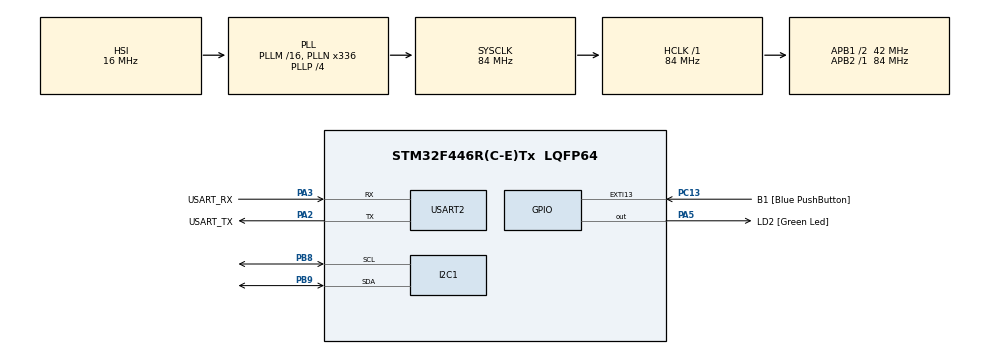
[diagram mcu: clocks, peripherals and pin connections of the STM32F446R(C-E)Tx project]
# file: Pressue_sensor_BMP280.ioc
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Mcu.Family=STM32F4
Mcu.Name=STM32F446R(C-E)Tx
Mcu.Package=LQFP64
NVIC.PriorityGroup=NVIC_PRIORITYGROUP_0
PA13.GPIO_Label=TMS
PA13.Mode=Serial_Wire
PA13.Signal=SYS_JTMS-SWDIO
PA14.GPIO_Label=TCK
PA14.Mode=Serial_Wire
PA14.Signal=SYS_JTCK-SWCLK
PA2.GPIO_Label=USART_TX
PA2.Mode=Asynchronous
PA2.Signal=USART2_TX
PA3.GPIO_Label=USART_RX
PA3.Mode=Asynchronous
PA3.Signal=USART2_RX
PA5.GPIO_Label=LD2 [Green Led]
PA5.Signal=GPIO_Output
PB3.GPIO_Label=SWO
PB3.Signal=SYS_JTDO-SWO
PB8.Mode=I2C
PB8.Signal=I2C1_SCL
PB9.Mode=I2C
PB9.Signal=I2C1_SDA
PC13.GPIO_Label=B1 [Blue PushButton]
PC13.GPIO_ModeDefaultEXTI=GPIO_MODE_IT_FALLING
PC13.Signal=GPXTI13
PC14-OSC32_IN.Mode=LSE-External-Oscillator
PC14-OSC32_IN.Signal=RCC_OSC32_IN
PC15-OSC32_OUT.Mode=LSE-External-Oscillator
PC15-OSC32_OUT.Signal=RCC_OSC32_OUT
PH0-OSC_IN.Mode=HSE-External-Oscillator
PH0-OSC_IN.Signal=RCC_OSC_IN
PH1-OSC_OUT.Mode=HSE-External-Oscillator
PH1-OSC_OUT.Signal=RCC_OSC_OUT
ProjectManager.HeapSize=0x200
ProjectManager.StackSize=0x400
ProjectManager.TargetToolchain=STM32CubeIDE
RCC.48MHZClocksFreq_Value=84000000
RCC.AHBFreq_Value=84000000
RCC.APB1CLKDivider=RCC_HCLK_DIV2
RCC.APB1Freq_Value=42000000
RCC.APB1TimFreq_Value=84000000
RCC.APB2Freq_Value=84000000
RCC.APB2TimFreq_Value=84000000
RCC.CortexFreq_Value=84000000
RCC.FLatency-AdvancedSettings=FLASH_LATENCY_2
RCC.HCLKFreq_Value=84000000
RCC.HSE_VALUE=8000000
RCC.HSI_VALUE=16000000
RCC.PLLN=336
RCC.PLLP=RCC_PLLP_DIV4
RCC.SYSCLKFreq_VALUE=84000000
RCC.SYSCLKSource=RCC_SYSCLKSOURCE_PLLCLK
RCC.USBFreq_Value=168000000
RCC.VCOOutputFreq_Value=336000000
USART2.VirtualMode=VM_ASYNC
board=NUCLEO-F446RE

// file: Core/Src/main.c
/* USER CODE BEGIN Header */
/**
  ******************************************************************************
  * @file           : main.c
  * @brief          : Main program body
  ******************************************************************************
  * @attention
  *
  * Copyright (c) 2023 STMicroelectronics.
  * All rights reserved.
  *
  * This software is licensed under terms that can be found in the LICENSE file
  * in the root directory of this software component.
  * If no LICENSE file comes with this software, it is provided AS-IS.
  *
  ******************************************************************************
  */
/* USER CODE END Header */
#include "main.h"
#include<stdio.h>
#include<string.h>

I2C_HandleTypeDef hi2c1;

UART_HandleTypeDef huart2;

/* USER CODE BEGIN PV */
uint16_t id_16[1],ctrl_meas_16[10];
uint8_t add=0x76<<1,id[8],reset[1],value[3],status[8],ctrl_meas[10],ctrl[1],config[1];
uint8_t press_lsb[7],press_msb[1],press_xlsb[3],press[2],calib[1];
uint8_t temp_lsb[7],temp_xlsb[7],temp_msb[7] = {0};
int32_t avg_temp[100],pressure[100];
float avg_temp_final=0,avg_press_final=0;
unsigned int temp_raw,press_raw;
int32_t t_fine;
double temp_final,final_press;
uint8_t calibdata[5],calibdata_press[20];
unsigned short dig_T1,dig_P1;
signed short dig_T2,dig_T3,dig_P2,dig_P3,dig_P4,dig_P5,dig_P6,dig_P7,dig_P8,dig_P9;
unsigned int i=0;
HAL_StatusTypeDef ret;
char r[100];
int _write(int file, char *ptr, int len){
	HAL_UART_Transmit(&huart2, (uint8_t*) ptr, len, HAL_MAX_DELAY);
	return len;
}
double bmp280_compensate_T_double( uint32_t adc_T)
{
double var1, var2, T;
var1 = (((double)adc_T)/16384.0 -((double)dig_T1)/1024.0) * ((double)dig_T2);
var2 = ((((double)adc_T)/131072.0 -((double)dig_T1)/8192.0) *(((double)adc_T)/131072.0 -((double) dig_T1)/8192.0)) * ((double)dig_T3);
t_fine = (int32_t)(var1 + var2);
T = (var1 + var2) / 5120.0;
return T;
}
double bmp280_compensate_P_double(uint32_t adc_P) {
double var1, var2, p;
var1 = ((double)t_fine/2.0)-64000.0;
var2 = var1 * var1 * ((double)dig_P6) / 32768.0;
var2 = var2 + var1 * ((double)dig_P5) * 2.0;
var2 = (var2/4.0)+(((double)dig_P4) * 65536.0);
var1 = (((double)dig_P3) * var1 * var1 / 524288.0 + ((double)dig_P2) * var1) / 524288.0;
var1 = (1.0 + var1 / 32768.0)*((double)dig_P1);
if (var1 == 0.0)
{
return 0; // avoid exception caused by division by zero
}
p = 1048576.0 -(double)adc_P;
p = (p -(var2 / 4096.0)) * 6250.0 / var1;
var1 = ((double)dig_P9) * p * p / 2147483648.0;
var2 = p * ((double)dig_P8) / 32768.0;
p = p + (var1 + var2 + ((double)dig_P7)) / 16.0;
return p;
}

void compute_temperature(unsigned int Raw_Temperature )
{
	signed long  var1=0,var2=0;
	signed int T=0;
	signed long t_fine=0;

	var1 = (((Raw_Temperature>>3) -((signed int )dig_T1<<1))) ;
	var1 = ((var1 *((signed int)dig_T2)) >> 11) ;

    var2 = ((Raw_Temperature/16) -((signed int)dig_T1));
	var2 =  (( (var2 * var2) /4096 ) * (((signed int)dig_T3) ) / 16384) ;
//    printf("v1 %d v2 %d | ",var1, var2 );

    t_fine = var1 +var2;
    T = ((t_fine * 5) + 128) / 256;
    avg_temp[i]=T;
    avg_temp_final+=avg_temp[i];
    i++;
    if(i==99){
    	avg_temp_final/=10000;
    	if(avg_temp_final==-40){
    		printf("Under Limit\n\r");
    	}
    	else if(avg_temp_final==85){
    		printf("Over Limit\n\r");
    	}
    	else{
    		printf("Final_Temp:%2.2f°c\n\r",avg_temp_final);
    	}
    	    i=0;
    }

}
void configuration(void){
	ret= HAL_I2C_Master_Transmit(&hi2c1, add , id, 1, HAL_MAX_DELAY);
			 if(ret != HAL_OK){
				 printf("Error %d\n\r",ret);
			 }
			 else{
				  ret=HAL_I2C_Master_Receive(&hi2c1, add , id , 1 , HAL_MAX_DELAY);
		//		  HAL_UART_Transmit(&huart2, id, 1, HAL_MAX_DELAY);
				  printf("Device Tested\n\r");
				  if (id[0]==0x58){
					  status[0]=0xF3; // to check status
					  HAL_I2C_Master_Transmit(&hi2c1, add , id, 1, HAL_MAX_DELAY);
					  HAL_I2C_Master_Receive(&hi2c1, add , status , 4 , HAL_MAX_DELAY);
			//		  HAL_UART_Transmit(&huart2, status, 4, HAL_MAX_DELAY);
				  }
				  if(status[0]==0&&status[3]==0){	//status data is processed and copied
					  ctrl_meas[0]=0xF4;
					  ctrl[0]=0x27;
					  HAL_I2C_Mem_Write(&hi2c1, add, ctrl_meas[0], I2C_MEMADD_SIZE_8BIT,(&ctrl[0]),1, HAL_MAX_DELAY);
			//		  HAL_I2C_Master_Transmit(&hi2c1, add , ctrl, 1, HAL_MAX_DELAY);
					  HAL_Delay(1000);
					  HAL_I2C_Master_Receive(&hi2c1, add , ctrl_meas, 1, HAL_MAX_DELAY);
					  printf("ctrl_meas Set\n\r");
			//		  HAL_UART_Transmit(&huart2, ctrl_meas, 1, HAL_MAX_DELAY);
				  }
				  if(ctrl_meas[0]==0x27){
					  config[0]=0xF5;
					  config[1]=0x00;
					  HAL_I2C_Mem_Write(&hi2c1, add, config[0], I2C_MEMADD_SIZE_8BIT,(&config[1]),1, HAL_MAX_DELAY);
					  HAL_Delay(1000);
					  HAL_I2C_Master_Receive(&hi2c1, add , config, 1, HAL_MAX_DELAY);
					  printf("Config Set\n\r");
			//		  HAL_UART_Transmit(&huart2, config, 1, HAL_MAX_DELAY);
				  }
			 }
			 }
void temp_calc (void){

			  if(config[0]==0x00){
				  calibdata[0]=0x88;
		//		  HAL_I2C_Master_Receive(&hi2c1, add , calibdata, 6, HAL_MAX_DELAY);
				  HAL_I2C_Mem_Read(&hi2c1,add,calibdata[0],I2C_MEMADD_SIZE_8BIT,(&calibdata[0]),6,HAL_MAX_DELAY);
		//		  HAL_UART_Transmit(&huart2, calib, 6, HAL_MAX_DELAY);
				  dig_T1=(calibdata[1]<<8)| calibdata[0];
				  dig_T2=(calibdata[3]<<8)| calibdata[2];
				  dig_T3=(calibdata[5]<<8)| calibdata[4];
		//		  dig_T1=27504;
		//		  dig_T2=26435;
		//		  dig_T3=-1000;
		//		  printf("dig_T1:%d dig_T2:%d dig_T3:%d\n\r",dig_T1,dig_T2,dig_T3);
//				  temp_lsb[0]=0xFB;
//				  temp_msb[0]=0xFA;
//				  temp_xlsb[0]=0xFC;

				  if(status[0]==0&&status[3]==0){
	//			  temp_lsb[0]=0x91;
	//			  temp_xlsb[0]=0x2<<4;
	//			  temp_msb[0]=0x73;
	//			  temp_raw=(temp_xlsb[0]>>4)|(temp_lsb[0]<<4)|(temp_msb[0]<<12);
		//		  temp_raw=519888;
		//		  compute_temperature(temp_raw);
		//		  temp_final=bmp280_compensate_T_double(temp_raw);
		//		  printf("Temp_final%lf\n\r",temp_final);
						  temp_lsb[0]=0xFB;
						  temp_msb[0]=0xFA;
						  temp_xlsb[0]=0xFC;
						  HAL_I2C_Mem_Read(&hi2c1,add,temp_msb[0],I2C_MEMADD_SIZE_8BIT,(&temp_msb[0]),3,HAL_MAX_DELAY);
						  temp_lsb[0]=temp_msb[1];
						  temp_xlsb[0]=temp_msb[2];
		//	 	 		  temp_lsb[0]=0x91;
		//	 	 		  temp_xlsb[0]=0x2<<4;
		//	 	 		  temp_msb[0]=0x73;
		//	 	 		  printf("lsb:%d xlsb:%d,msb:%d\n\r",temp_lsb[0],temp_xlsb[0],temp_msb[0]);
						  temp_raw=(temp_xlsb[0]>>4)|(temp_lsb[0]<<4)|(temp_msb[0]<<12);
		//		 		  temp_raw=519888;
						  compute_temperature(temp_raw);
		//	 		 	  temp_final=bmp280_compensate_T_double(temp_raw);
		//	 		      printf("Temp_final%lf\n\r",temp_final);
						  HAL_Delay(10);
				  }
			  }
}

void press_calc(void){
	static int i=0;
	if(config[0]==0x00){
	 calibdata_press[0]=0x8E;
	 				  HAL_I2C_Master_Receive(&hi2c1, add , calibdata, 18, HAL_MAX_DELAY);
//	 				  HAL_I2C_Mem_Read(&hi2c1,add,calibdata[0],I2C_MEMADD_SIZE_8BIT,(&calibdata[0]),18,HAL_MAX_DELAY);
	 		//		  HAL_UART_Transmit(&huart2, calib, 6, HAL_MAX_DELAY);
	 				  dig_P1=(calibdata_press[1]<<8)| calibdata_press[0];
	 				  dig_P2=(calibdata_press[3]<<8)| calibdata_press[2];
	 				  dig_P3=(calibdata_press[5]<<8)| calibdata_press[4];
	 				  dig_P4=(calibdata_press[7]<<8)| calibdata_press[6];
	 				  dig_P5=(calibdata_press[9]<<8)| calibdata_press[8];
	 				  dig_P6=(calibdata_press[11]<<8)| calibdata_press[10];
	 				  dig_P7=(calibdata_press[13]<<8)| calibdata_press[12];
	 				  dig_P8=(calibdata_press[15]<<8)| calibdata_press[14];
	 				  dig_P9=(calibdata_press[17]<<8)| calibdata_press[16];
//	 				  printf("P1:%d,P2:%d,P3:%d,P4:%d,P5:%d,P6:%d,p7:%d,P8:%d,P9:%d\n\r",dig_P1,dig_P2,dig_P3,dig_P4,dig_P5,dig_P6,dig_P7,dig_P8,dig_P9);

	 if(status[0]==0&&status[3]==0){
	 	//			  temp_lsb[0]=0x91;
	 	//			  temp_xlsb[0]=0x2<<4;
	 	//			  temp_msb[0]=0x73;
	 	//			  temp_raw=(temp_xlsb[0]>>4)|(temp_lsb[0]<<4)|(temp_msb[0]<<12);
	 		//		  temp_raw=519888;
	 		//		  compute_temperature(temp_raw);
	 		//		  temp_final=bmp280_compensate_T_double(temp_raw);
	 		//		  printf("Temp_final%lf\n\r",temp_final);
	 						  press_lsb[0]=0xF8;
	 						  press_msb[0]=0xF7;
	 						  press_xlsb[0]=0xF9;
	 						  HAL_I2C_Mem_Read(&hi2c1,add,press_msb[0],I2C_MEMADD_SIZE_8BIT,(&press_msb[0]),3,HAL_MAX_DELAY);
	 						  press_lsb[0]=press_msb[1];
	 						  press_xlsb[0]=press_msb[2];
	 		//	 	 		  temp_lsb[0]=0x91;
	 		//	 	 		  temp_xlsb[0]=0x2<<4;
	 		//	 	 		  temp_msb[0]=0x73;
	 		//	 	 		  printf("lsb:%d xlsb:%d,msb:%d\n\r",temp_lsb[0],temp_xlsb[0],temp_msb[0]);
	 						  press_raw=(press_xlsb[0]>>4)|(press_lsb[0]<<4)|(press_msb[0]<<12);
	 		//		 		  temp_raw=519888;
	 						 final_press=bmp280_compensate_P_double(press_raw)/1000;
	 						 pressure[i]=final_press;
 							 avg_press_final+=pressure[i];
 							 i++;
	 						 if(i == 99){
	 							 avg_press_final=avg_press_final/100;
	 							 avg_press_final-=150;
	 	 						printf("Press_final:%lfpa\n\r",avg_press_final);
	 	 						  HAL_Delay(10);
	 	 						  i=0;
	 						 }
	 		//	 		 	  temp_final=bmp280_compensate_T_double(temp_raw);
	 		//	 		      printf("Temp_final%lf\n\r",temp_final);

	 				  }
	}
}

/* USER CODE END PV */

void SystemClock_Config(void);
static void MX_GPIO_Init(void);
static void MX_USART2_UART_Init(void);
static void MX_I2C1_Init(void);

int main(void)
{
  /* USER CODE BEGIN 1 */
//	HAL_StatusTypeDef buf,bufr;
  /* USER CODE END 1 */

  /* MCU Configuration--------------------------------------------------------*/

  /* Reset of all peripherals, Initializes the Flash interface and the Systick. */
  HAL_Init();

  /* Configure the system clock */
  SystemClock_Config();

  /* Initialize all configured peripherals */
  MX_GPIO_Init();
  MX_USART2_UART_Init();
  MX_I2C1_Init();
  /* USER CODE BEGIN 2 */
//  sprintf(buf,"");
  /* USER CODE END 2 */
 id[0]= 0xD0;
 id_16[0]= 0xD0;
 configuration();
// reset[0]=0xE0;
  /* Infinite loop */
  while (1)
  {
	  temp_calc();
	  press_calc();

  }
}

void SystemClock_Config(void)
{
  RCC_OscInitTypeDef RCC_OscInitStruct = {0};
  RCC_ClkInitTypeDef RCC_ClkInitStruct = {0};

  /** Configure the main internal regulator output voltage
  */
  __HAL_RCC_PWR_CLK_ENABLE();
  __HAL_PWR_VOLTAGESCALING_CONFIG(PWR_REGULATOR_VOLTAGE_SCALE3);

  /** Initializes the RCC Oscillators according to the specified parameters
  * in the RCC_OscInitTypeDef structure.
  */
  RCC_OscInitStruct.OscillatorType = RCC_OSCILLATORTYPE_HSI;
  RCC_OscInitStruct.HSIState = RCC_HSI_ON;
  RCC_OscInitStruct.HSICalibrationValue = RCC_HSICALIBRATION_DEFAULT;
  RCC_OscInitStruct.PLL.PLLState = RCC_PLL_ON;
  RCC_OscInitStruct.PLL.PLLSource = RCC_PLLSOURCE_HSI;
  RCC_OscInitStruct.PLL.PLLM = 16;
  RCC_OscInitStruct.PLL.PLLN = 336;
  RCC_OscInitStruct.PLL.PLLP = RCC_PLLP_DIV4;
  RCC_OscInitStruct.PLL.PLLQ = 2;
  RCC_OscInitStruct.PLL.PLLR = 2;
  if (HAL_RCC_OscConfig(&RCC_OscInitStruct) != HAL_OK)
  {
    Error_Handler();
  }

  /** Initializes the CPU, AHB and APB buses clocks
  */
  RCC_ClkInitStruct.ClockType = RCC_CLOCKTYPE_HCLK|RCC_CLOCKTYPE_SYSCLK
                              |RCC_CLOCKTYPE_PCLK1|RCC_CLOCKTYPE_PCLK2;
  RCC_ClkInitStruct.SYSCLKSource = RCC_SYSCLKSOURCE_PLLCLK;
  RCC_ClkInitStruct.AHBCLKDivider = RCC_SYSCLK_DIV1;
  RCC_ClkInitStruct.APB1CLKDivider = RCC_HCLK_DIV2;
  RCC_ClkInitStruct.APB2CLKDivider = RCC_HCLK_DIV1;

  if (HAL_RCC_ClockConfig(&RCC_ClkInitStruct, FLASH_LATENCY_2) != HAL_OK)
  {
    Error_Handler();
  }
}

static void MX_I2C1_Init(void)
{

  hi2c1.Instance = I2C1;
  hi2c1.Init.ClockSpeed = 1000000;
  hi2c1.Init.DutyCycle = I2C_DUTYCYCLE_2;
  hi2c1.Init.OwnAddress1 = 0;
  hi2c1.Init.AddressingMode = I2C_ADDRESSINGMODE_7BIT;
  hi2c1.Init.DualAddressMode = I2C_DUALADDRESS_DISABLE;
  hi2c1.Init.OwnAddress2 = 0;
  hi2c1.Init.GeneralCallMode = I2C_GENERALCALL_DISABLE;
  hi2c1.Init.NoStretchMode = I2C_NOSTRETCH_DISABLE;
  if (HAL_I2C_Init(&hi2c1) != HAL_OK)
  {
    Error_Handler();
  }

}

static void MX_USART2_UART_Init(void)
{

  huart2.Instance = USART2;
  huart2.Init.BaudRate = 115200;
  huart2.Init.WordLength = UART_WORDLENGTH_8B;
  huart2.Init.StopBits = UART_STOPBITS_1;
  huart2.Init.Parity = UART_PARITY_NONE;
  huart2.Init.Mode = UART_MODE_TX_RX;
  huart2.Init.HwFlowCtl = UART_HWCONTROL_NONE;
  huart2.Init.OverSampling = UART_OVERSAMPLING_16;
  if (HAL_UART_Init(&huart2) != HAL_OK)
  {
    Error_Handler();
  }

}

static void MX_GPIO_Init(void)
{
  GPIO_InitTypeDef GPIO_InitStruct = {0};

  /* GPIO Ports Clock Enable */
  __HAL_RCC_GPIOC_CLK_ENABLE();
  __HAL_RCC_GPIOH_CLK_ENABLE();
  __HAL_RCC_GPIOA_CLK_ENABLE();
  __HAL_RCC_GPIOB_CLK_ENABLE();

  /*Configure GPIO pin Output Level */
  HAL_GPIO_WritePin(LD2_GPIO_Port, LD2_Pin, GPIO_PIN_RESET);

  /*Configure GPIO pin : B1_Pin */
  GPIO_InitStruct.Pin = B1_Pin;
  GPIO_InitStruct.Mode = GPIO_MODE_IT_FALLING;
  GPIO_InitStruct.Pull = GPIO_NOPULL;
  HAL_GPIO_Init(B1_GPIO_Port, &GPIO_InitStruct);

  /*Configure GPIO pin : LD2_Pin */
  GPIO_InitStruct.Pin = LD2_Pin;
  GPIO_InitStruct.Mode = GPIO_MODE_OUTPUT_PP;
  GPIO_InitStruct.Pull = GPIO_NOPULL;
  GPIO_InitStruct.Speed = GPIO_SPEED_FREQ_LOW;
  HAL_GPIO_Init(LD2_GPIO_Port, &GPIO_InitStruct);

}

void Error_Handler(void)
{
  __disable_irq();
  while (1)
  {
  }
}
